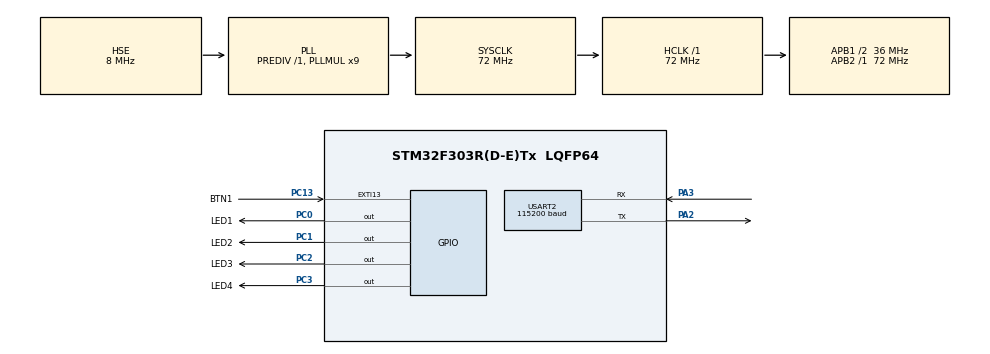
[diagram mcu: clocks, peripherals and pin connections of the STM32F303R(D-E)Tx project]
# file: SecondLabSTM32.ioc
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Dma.Request0=USART2_RX
Dma.Request1=USART2_TX
Dma.USART2_RX.0.Direction=DMA_PERIPH_TO_MEMORY
Dma.USART2_RX.0.Instance=DMA1_Channel6
Dma.USART2_RX.0.MemDataAlignment=DMA_MDATAALIGN_BYTE
Dma.USART2_RX.0.MemInc=DMA_MINC_ENABLE
Dma.USART2_RX.0.Mode=DMA_NORMAL
Dma.USART2_RX.0.PeriphDataAlignment=DMA_PDATAALIGN_BYTE
Dma.USART2_RX.0.PeriphInc=DMA_PINC_DISABLE
Dma.USART2_RX.0.Priority=DMA_PRIORITY_LOW
Dma.USART2_TX.1.Direction=DMA_MEMORY_TO_PERIPH
Dma.USART2_TX.1.Instance=DMA1_Channel7
Dma.USART2_TX.1.MemDataAlignment=DMA_MDATAALIGN_BYTE
Dma.USART2_TX.1.MemInc=DMA_MINC_ENABLE
Dma.USART2_TX.1.Mode=DMA_NORMAL
Dma.USART2_TX.1.PeriphDataAlignment=DMA_PDATAALIGN_BYTE
Dma.USART2_TX.1.PeriphInc=DMA_PINC_DISABLE
Dma.USART2_TX.1.Priority=DMA_PRIORITY_LOW
Mcu.Family=STM32F3
Mcu.Name=STM32F303R(D-E)Tx
Mcu.Package=LQFP64
NVIC.DMA1_Channel6_IRQn=true\:0\:0\:false\:false\:true\:false\:true\:true
NVIC.DMA1_Channel7_IRQn=true\:0\:0\:false\:false\:true\:false\:true\:true
NVIC.EXTI15_10_IRQn=true\:0\:0\:false\:false\:true\:true\:true\:true
NVIC.PriorityGroup=NVIC_PRIORITYGROUP_4
NVIC.USART2_IRQn=true\:0\:0\:false\:false\:true\:true\:true\:true
PA13.Mode=Serial_Wire
PA13.Signal=SYS_JTMS-SWDIO
PA14.Mode=Serial_Wire
PA14.Signal=SYS_JTCK-SWCLK
PA2.Mode=Asynchronous
PA2.Signal=USART2_TX
PA3.Mode=Asynchronous
PA3.Signal=USART2_RX
PC0.GPIO_Label=LED1
PC0.Signal=GPIO_Output
PC1.GPIO_Label=LED2
PC1.Signal=GPIO_Output
PC13.GPIO_Label=BTN1
PC13.GPIO_ModeDefaultEXTI=GPIO_MODE_IT_RISING_FALLING
PC13.Signal=GPXTI13
PC2.GPIO_Label=LED3
PC2.Signal=GPIO_Output
PC3.GPIO_Label=LED4
PC3.Signal=GPIO_Output
PF0-OSC_IN.Mode=HSE-External-Oscillator
PF0-OSC_IN.Signal=RCC_OSC_IN
PF1-OSC_OUT.Mode=HSE-External-Oscillator
PF1-OSC_OUT.Signal=RCC_OSC_OUT
ProjectManager.HeapSize=0x200
ProjectManager.StackSize=0x400
ProjectManager.TargetToolchain=STM32CubeIDE
RCC.AHBFreq_Value=72000000
RCC.APB1CLKDivider=RCC_HCLK_DIV2
RCC.APB1Freq_Value=36000000
RCC.APB1TimFreq_Value=72000000
RCC.APB2Freq_Value=72000000
RCC.APB2TimFreq_Value=72000000
RCC.CortexFreq_Value=72000000
RCC.HCLKFreq_Value=72000000
RCC.HSE_VALUE=8000000
RCC.HSI_VALUE=8000000
RCC.LSE_VALUE=32768
RCC.PLLMUL=RCC_PLL_MUL9
RCC.PLLSourceVirtual=RCC_PLLSOURCE_HSE
RCC.SYSCLKFreq_VALUE=72000000
RCC.SYSCLKSourceVirtual=RCC_SYSCLKSOURCE_PLLCLK
RCC.USBFreq_Value=72000000
USART2.BaudRate=115200
USART2.VirtualMode-Asynchronous=VM_ASYNC
board=custom

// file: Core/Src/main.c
/* USER CODE BEGIN Header */
/**
  ******************************************************************************
  * @file           : main.c
  * @brief          : Main program body
  ******************************************************************************
  * @attention
  *
  * Copyright (c) 2023 STMicroelectronics.
  * All rights reserved.
  *
  * This software is licensed under terms that can be found in the LICENSE file
  * in the root directory of this software component.
  * If no LICENSE file comes with this software, it is provided AS-IS.
  *
  ******************************************************************************
  */
/* USER CODE END Header */
#include "main.h"

/* USER CODE BEGIN Includes */
#include "stdio.h"
#include "string.h"
#include "stdlib.h"
#include "ctype.h"
#include "scheduler.h"
/* USER CODE END Includes */

/* USER CODE BEGIN PD */
#define NUM_LED 4
#define Shift_Amount 1
#define RxBuf_SIZE 16
#define TxBuf_SIZE 128
#define MAX_TASKS 3
/* USER CODE END PD */

UART_HandleTypeDef huart2;
DMA_HandleTypeDef hdma_usart2_rx;
DMA_HandleTypeDef hdma_usart2_tx;

/* USER CODE BEGIN PV */
struct Stored_LEDs
{
    uint8_t LEDArray1:NUM_LED;
	uint8_t ModeLED1:1;
	uint16_t RefreshRateLED;
} SLED;

struct State_User_Buttons
{
	uint8_t stateUB1:2;
	uint8_t flagUB1:1;
} SUB;

// Массив поддерживаемых команд и соответствующих текстов ошибок.
const char *commands[] = { "f="};
const char *errorMessages[] = {
    "Invalid command format. Command should be in the format 'F=x.x' with x in the range 0.1 to 9.9 Hz.\n"
};
const char *completedMessages[] = {
	"LED updates frequently: f=%.2f Hz\n"
};
uint8_t TxBuf[TxBuf_SIZE];
uint8_t RxBuf[RxBuf_SIZE];
/* USER CODE END PV */

void SystemClock_Config(void);
static void MX_GPIO_Init(void);
static void MX_DMA_Init(void);
static void MX_USART2_UART_Init(void);
/* USER CODE BEGIN PFP */
void Task1(void);
void Task2(void);
void Task3(void);
/* USER CODE END PFP */

/* USER CODE BEGIN 0 */
// Функция для выполнения кольцевого сдвига битов влево и возвращения числа
void circularLeftShiftLEDByte(struct Stored_LEDs* SLED) {
    SLED->LEDArray1 = (SLED->LEDArray1 << Shift_Amount) | (SLED->LEDArray1 >> (4 - Shift_Amount));
}

// Функция для извлечения определенного бита из поля x
uint8_t getLEDByte(struct Stored_LEDs* SLED, uint8_t bitIndex) {
    return (SLED->LEDArray1 >> bitIndex) & 1;
}

void ToggleLEDByte(struct Stored_LEDs* SLED)
{
	HAL_GPIO_WritePin(LED1_GPIO_Port, LED1_Pin, getLEDByte(SLED, 3));
	HAL_GPIO_WritePin(LED2_GPIO_Port, LED2_Pin, getLEDByte(SLED, 2));
	HAL_GPIO_WritePin(LED3_GPIO_Port, LED3_Pin, getLEDByte(SLED, 1));
	HAL_GPIO_WritePin(LED4_GPIO_Port, LED4_Pin, getLEDByte(SLED, 0));
}

void String_Comp(char *strRx, char *strTx, struct Stored_LEDs* SLED) {
	int commandIndex = -1;

    // Преобразуйте все символы входной строки в нижний регистр для нечувствительности к регистру.
    for (int i = 0; strRx[i]; i++) {
        strRx[i] = tolower(strRx[i]);
    }

    size_t numCommands = sizeof(commands) / sizeof(commands[0]);

    // Найдите индекс соответствующей команды.
    for (size_t i = 0; i < numCommands; i++) {
        if (strncmp(strRx, commands[i], strlen(commands[i])) == 0) {
            commandIndex = i;
            break;
        }
    }

    // Обработка команд на основе найденного индекса.
    switch (commandIndex) {
    	case 0:{
        	char *endPtr;
        	float frequency = strtod(strRx + 2, &endPtr);
        	if (endPtr != strRx + 2 && frequency >= 0.1 && frequency <= 9.9) {
        		SLED->RefreshRateLED = (uint32_t)(1/frequency*1000);
        		sprintf(strTx, completedMessages[commandIndex], frequency);
            return;
            } else strcat(strTx, errorMessages[commandIndex]);
        } break;

        default:
            // Выведите текст ошибки, если ни одна из команд не совпала.
        	strcat(strTx, "Invalid command. Supported commands: 'F=x.x'\n");
        break;
    }
}

void Task1(void) {
	circularLeftShiftLEDByte(&SLED);
	ToggleLEDByte(&SLED);
	SetTimerTask(Task1, SLED.RefreshRateLED);
}

void Task2(void) {
    if(SUB.flagUB1 == 1){
    	SLED.ModeLED1 ^= 1;
    	SLED.ModeLED1?(SLED.LEDArray1 = 9):(SLED.LEDArray1 = 10);
    	SUB.flagUB1 = 0;
    	Task1();
    }
    SetTask(Task2);
}

/* Функцию UART TX --------------------------------------------------------------*/
void Task3(void){
    if (strlen((char*)RxBuf) != 0) {
		String_Comp((char*)RxBuf,(char*)TxBuf,&SLED);
		HAL_UART_Transmit_DMA(&huart2, (uint8_t*)TxBuf, strlen((char*)TxBuf));
		memset (RxBuf, 0, RxBuf_SIZE);
    }
    SetTask(Task3);
}

void HAL_SYSTICK_Callback(void)
{
  TimerService(); // Timer service function
}

/* USER CODE END 0 */

int main(void)
{
  /* USER CODE BEGIN 1 */
  // �?нициализация диспетчера задач
  InitScheduler();
  /* USER CODE END 1 */

  /* MCU Configuration--------------------------------------------------------*/

  /* Reset of all peripherals, Initializes the Flash interface and the Systick. */
  HAL_Init();

  /* Configure the system clock */
  SystemClock_Config();

  /* Initialize all configured peripherals */
  MX_GPIO_Init();
  MX_DMA_Init();
  MX_USART2_UART_Init();
  /* USER CODE BEGIN 2 */
  HAL_UARTEx_ReceiveToIdle_DMA(&huart2, (uint8_t *) RxBuf, RxBuf_SIZE);
  __HAL_DMA_DISABLE_IT(&hdma_usart2_rx, DMA_IT_HT);
  SLED.LEDArray1 = 10;
  SLED.RefreshRateLED = 1000;
  // Установка таймеров для циклического выполнения задач
  SetTimerTask(Task1, SLED.RefreshRateLED); // Задача 1 каждую секунду
  SetTask(Task2); // Задача 2
  SetTask(Task3); // Задача 3
  /* USER CODE END 2 */

  /* Infinite loop */
  while (1)
  {

    /* USER CODE BEGIN 3 */
    // Вызов диспетчера задач
    TaskManager();
  }
  /* USER CODE END 3 */
}

void SystemClock_Config(void)
{
  RCC_OscInitTypeDef RCC_OscInitStruct = {0};
  RCC_ClkInitTypeDef RCC_ClkInitStruct = {0};
  RCC_PeriphCLKInitTypeDef PeriphClkInit = {0};

  /** Initializes the RCC Oscillators according to the specified parameters
  * in the RCC_OscInitTypeDef structure.
  */
  RCC_OscInitStruct.OscillatorType = RCC_OSCILLATORTYPE_HSE;
  RCC_OscInitStruct.HSEState = RCC_HSE_ON;
  RCC_OscInitStruct.HSIState = RCC_HSI_ON;
  RCC_OscInitStruct.PLL.PLLState = RCC_PLL_ON;
  RCC_OscInitStruct.PLL.PLLSource = RCC_PLLSOURCE_HSE;
  RCC_OscInitStruct.PLL.PLLMUL = RCC_PLL_MUL9;
  RCC_OscInitStruct.PLL.PREDIV = RCC_PREDIV_DIV1;
  if (HAL_RCC_OscConfig(&RCC_OscInitStruct) != HAL_OK)
  {
    Error_Handler();
  }

  /** Initializes the CPU, AHB and APB buses clocks
  */
  RCC_ClkInitStruct.ClockType = RCC_CLOCKTYPE_HCLK|RCC_CLOCKTYPE_SYSCLK
                              |RCC_CLOCKTYPE_PCLK1|RCC_CLOCKTYPE_PCLK2;
  RCC_ClkInitStruct.SYSCLKSource = RCC_SYSCLKSOURCE_PLLCLK;
  RCC_ClkInitStruct.AHBCLKDivider = RCC_SYSCLK_DIV1;
  RCC_ClkInitStruct.APB1CLKDivider = RCC_HCLK_DIV2;
  RCC_ClkInitStruct.APB2CLKDivider = RCC_HCLK_DIV1;

  if (HAL_RCC_ClockConfig(&RCC_ClkInitStruct, FLASH_LATENCY_2) != HAL_OK)
  {
    Error_Handler();
  }
  PeriphClkInit.PeriphClockSelection = RCC_PERIPHCLK_USART2;
  PeriphClkInit.Usart2ClockSelection = RCC_USART2CLKSOURCE_PCLK1;
  if (HAL_RCCEx_PeriphCLKConfig(&PeriphClkInit) != HAL_OK)
  {
    Error_Handler();
  }
}

static void MX_USART2_UART_Init(void)
{

  huart2.Instance = USART2;
  huart2.Init.BaudRate = 115200;
  huart2.Init.WordLength = UART_WORDLENGTH_8B;
  huart2.Init.StopBits = UART_STOPBITS_1;
  huart2.Init.Parity = UART_PARITY_NONE;
  huart2.Init.Mode = UART_MODE_TX_RX;
  huart2.Init.HwFlowCtl = UART_HWCONTROL_NONE;
  huart2.Init.OverSampling = UART_OVERSAMPLING_16;
  huart2.Init.OneBitSampling = UART_ONE_BIT_SAMPLE_DISABLE;
  huart2.AdvancedInit.AdvFeatureInit = UART_ADVFEATURE_NO_INIT;
  if (HAL_UART_Init(&huart2) != HAL_OK)
  {
    Error_Handler();
  }

}

static void MX_DMA_Init(void)
{

  /* DMA controller clock enable */
  __HAL_RCC_DMA1_CLK_ENABLE();

  /* DMA interrupt init */
  /* DMA1_Channel6_IRQn interrupt configuration */
  HAL_NVIC_SetPriority(DMA1_Channel6_IRQn, 0, 0);
  HAL_NVIC_EnableIRQ(DMA1_Channel6_IRQn);
  /* DMA1_Channel7_IRQn interrupt configuration */
  HAL_NVIC_SetPriority(DMA1_Channel7_IRQn, 0, 0);
  HAL_NVIC_EnableIRQ(DMA1_Channel7_IRQn);

}

static void MX_GPIO_Init(void)
{
  GPIO_InitTypeDef GPIO_InitStruct = {0};

  /* GPIO Ports Clock Enable */
  __HAL_RCC_GPIOC_CLK_ENABLE();
  __HAL_RCC_GPIOF_CLK_ENABLE();
  __HAL_RCC_GPIOA_CLK_ENABLE();

  /*Configure GPIO pin Output Level */
  HAL_GPIO_WritePin(GPIOC, LED1_Pin|LED2_Pin|LED3_Pin|LED4_Pin, GPIO_PIN_RESET);

  /*Configure GPIO pin : BTN1_Pin */
  GPIO_InitStruct.Pin = BTN1_Pin;
  GPIO_InitStruct.Mode = GPIO_MODE_IT_RISING_FALLING;
  GPIO_InitStruct.Pull = GPIO_NOPULL;
  HAL_GPIO_Init(BTN1_GPIO_Port, &GPIO_InitStruct);

  /*Configure GPIO pins : LED1_Pin LED2_Pin LED3_Pin LED4_Pin */
  GPIO_InitStruct.Pin = LED1_Pin|LED2_Pin|LED3_Pin|LED4_Pin;
  GPIO_InitStruct.Mode = GPIO_MODE_OUTPUT_PP;
  GPIO_InitStruct.Pull = GPIO_NOPULL;
  GPIO_InitStruct.Speed = GPIO_SPEED_FREQ_LOW;
  HAL_GPIO_Init(GPIOC, &GPIO_InitStruct);

  /* EXTI interrupt init*/
  HAL_NVIC_SetPriority(EXTI15_10_IRQn, 0, 0);
  HAL_NVIC_EnableIRQ(EXTI15_10_IRQn);

}

/* USER CODE BEGIN 4 */
void Press_Fixation_UB1(struct State_User_Buttons* SUB){
	if((SUB->stateUB1 & 0x2) != 0){
		SUB->flagUB1 = 1;
		SUB->stateUB1 = 0;
	}
}

void Button_status_change(struct State_User_Buttons* SUB, uint16_t GPIO_Pin){
	uint8_t State = !(HAL_GPIO_ReadPin(BTN1_GPIO_Port, GPIO_Pin));
	SUB->stateUB1 =  SUB->stateUB1 << 1;
	if(State) SUB->stateUB1 |= (State);
	else SUB->stateUB1 &= ~(State);
}

// Функция обратного вызова обработки прерывания EXTI External Interrupt
void HAL_GPIO_EXTI_Callback(uint16_t GPIO_Pin)
{
	switch (GPIO_Pin) {
		case BTN1_Pin: {
			Button_status_change(&SUB, GPIO_Pin);
			Press_Fixation_UB1(&SUB);
		} break;
		default: break;
	}
}

/* Функцию обратного вызова UART RX IDLE ------------------------------------------*/
void HAL_UARTEx_RxEventCallback(UART_HandleTypeDef *huart, uint16_t Size)
{
	if (huart->Instance == USART2)
	{
		HAL_UARTEx_ReceiveToIdle_DMA(&huart2, (uint8_t *) RxBuf, RxBuf_SIZE);
		__HAL_DMA_DISABLE_IT(&hdma_usart2_rx, DMA_IT_HT);
	}
}

/* Функцию обратного вызова UART TX --------------------------------------------*/
void HAL_UART_TxCpltCallback(UART_HandleTypeDef *huart)
{
	if (huart->Instance == USART2){
		if(HAL_UART_GetState (&huart2) != HAL_UART_STATE_BUSY_TX){
			memset (TxBuf, 0, TxBuf_SIZE);
		}
	}
}
/* USER CODE END 4 */

void Error_Handler(void)
{
  __disable_irq();
  while (1)
  {
  }
}
